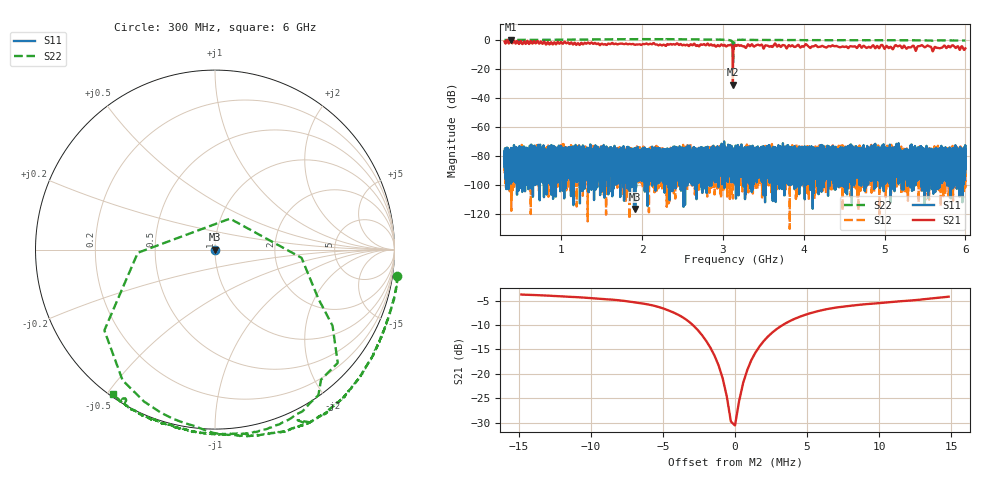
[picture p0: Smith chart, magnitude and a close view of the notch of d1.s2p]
!Agilent Technologies,N5230C,SG49000117,A.08.50.07
!Agilent N5230C: A.08.50.07
!Date: Sunday, March 17, 2024 09:25:58
!Correction: S11(Off)
!S21(Off)
!S12(Off)
!S22(Full 1 Port(2))
!S2P File: Measurements: S11, S21, S12, S22:
# Hz S  RI  R 50
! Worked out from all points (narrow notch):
!   20001 points, 300 MHz to 6 GHz, reference 50 ohm
!   highest |S21| = 0.47 dB at 373.8 MHz (marker M1); lowest = -30.6 dB at 3.124 GHz (marker M2)
!   notch at M2: 27.2 dB deep, 2.48 MHz wide at half that depth
!   lowest |S11| = -116.3 dB at 1.915 GHz (marker M3), VSWR 1.00, Z = 50 - j0.000109 ohm
!   |S11| at or under -10 dB: start of sweep to end of sweep
!   |S22| runs from -15.2 to 0.9 dB; largest |S21 - S12| = 1.1
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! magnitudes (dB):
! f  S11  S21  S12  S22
! 300 MHz  -87.0  -0.9  -88.0  0.2
! 373.8 MHz  -83.0  0.5  -91.2  0.3
! 1.25 GHz  -81.8  -1.7  -86.6  0.5
! 1.915 GHz  -116.3  -3.1  -79.9  0.8
! 2.2 GHz  -91.1  -3.5  -86.1  0.8
! 3.05 GHz  -81.8  -3.9  -80.4  0.3
! 3.088 GHz  -78.8  -3.2  -99.0  0.0
! 3.101 GHz  -83.4  -3.1  -85.0  -0.2
! 3.124 GHz  -81.4  -30.6  -87.5  -9.5
! 3.15 GHz  -87.8  -3.0  -86.6  0.0
! 3.161 GHz  -84.7  -3.7  -80.9  0.2
! 3.191 GHz  -106.0  -3.1  -90.6  0.3
! 3.976 GHz  -87.4  -4.1  -92.5  0.1
! 4.033 GHz  -94.5  -2.8  -84.1  0.1
! 4.1 GHz  -79.4  -4.2  -80.2  0.1
! 5.05 GHz  -75.7  -5.4  -81.7  0.1
! 5.159 GHz  -78.6  -4.1  -80.0  0.1
! 5.393 GHz  -91.5  -6.4  -85.6  0.0
! 5.453 GHz  -77.1  -3.4  -79.0  0.0
! 5.608 GHz  -84.9  -6.1  -75.6  -0.2
! 5.843 GHz  -77.2  -3.4  -80.7  -0.1
! 6 GHz  -85.5  -5.6  -83.4  -0.1
